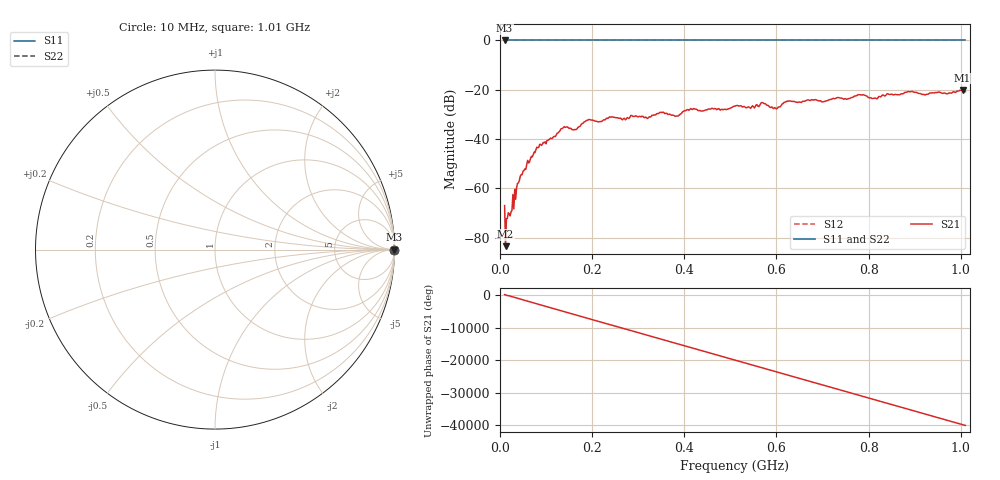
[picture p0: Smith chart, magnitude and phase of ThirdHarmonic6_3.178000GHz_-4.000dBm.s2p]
! 8/17/2025 9:35:15 AM
! C:\ANRITSUVNA\TEMP\TEMP.S2P
! CHANNEL.1
! TR.MEASUREMENT
! RAW.DATA
! RF.CORRECTION.OFF
! AVERAGING.OFF
! IF.BANDWIDTH: 5KHZ
! SWEEPTYPE:  FREQ.SWEEP(Linear)
! Reference Plane Port Info
! PORT:  PORT1  PORT2
! DISTANCE:  0  m  0  m
! TIME:  0  s  0  s
! PHASE.OFFSET:  0  deg.  0  deg.
! LOSS:  0  dB  0  dB
! REF.LOSS:  0  dB  0  dB
! REF.FREQ:  0  Hz  0  Hz
! Power Info
! POWER:  -20  dBm  -20  dBm
! EFF.POWER:  -20  dBm  -20  dBm
! SOURCE.ATTEN:  0  dB  0  dB
! TEST.ATTEN:  0  dB  0  dB
# GHZ S RI R 50.0
! FREQ.GHZ  S11RE  S11IM  S21RE  S21IM  S12RE  S12IM  S22RE  S22IM
!; PortSelection: Port_12
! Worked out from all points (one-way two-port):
!   501 points, 10 MHz to 1.01 GHz, reference 50 ohm
!   highest |S21| = -20.05 dB at 1.004 GHz (marker M1); lowest = -83.5 dB at 12 MHz (marker M2)
!   lowest |S11| = 0.0 dB at 10 MHz (marker M3)
!   |S11| at or under -10 dB: nowhere
!   |S22| runs from 0.0 to 0.0 dB; largest |S21 - S12| = 1.1
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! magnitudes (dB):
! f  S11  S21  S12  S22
! 10 MHz  0.0  -67.0  0.0  0.0
! 12 MHz  0.0  -83.5  0.0  0.0
! 16 MHz  0.0  -72.2  0.0  0.0
! 26 MHz  0.0  -69.1  0.0  0.0
! 36 MHz  0.0  -59.8  0.0  0.0
! 46 MHz  0.0  -54.4  0.0  0.0
! 82 MHz  0.0  -43.5  0.0  0.0
! 136 MHz  0.0  -35.7  0.0  0.0
! 162 MHz  0.0  -36.1  0.0  0.0
! 178 MHz  0.0  -33.7  0.0  0.0
! 344 MHz  0.0  -29.6  0.0  0.0
! 384 MHz  0.0  -30.7  0.0  0.0
! 410 MHz  0.0  -28.3  0.0  0.0
! 510 MHz  0.0  -26.6  0.0  0.0
! 570 MHz  0.0  -25.3  0.0  0.0
! 598 MHz  0.0  -27.5  0.0  0.0
! 624 MHz  0.0  -24.6  0.0  0.0
! 678 MHz  0.0  -24.1  0.0  0.0
! 814 MHz  0.0  -23.3  0.0  0.0
! 844 MHz  0.0  -21.9  0.0  0.0
! 1.004 GHz  0.0  -20.0  0.0  0.0
! 1.01 GHz  0.0  -20.8  0.0  0.0
